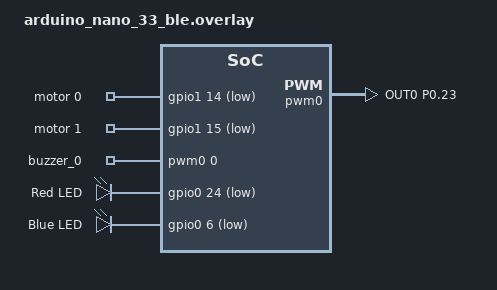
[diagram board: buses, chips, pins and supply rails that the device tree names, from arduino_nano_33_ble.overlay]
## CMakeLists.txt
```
# SPDX-License-Identifier: Apache-2.0

cmake_minimum_required(VERSION 3.20.0)
set(BOARD arduino_nano_33_ble)
find_package(Zephyr REQUIRED HINTS $ENV{ZEPHYR_BASE})
project(vision_lead)

# Add the include directory
# target_include_directories(app PRIVATE ${CMAKE_CURRENT_SOURCE_DIR}/ble)
zephyr_include_directories(ble)
zephyr_include_directories(gpio)

target_sources(app PRIVATE src/main.c ble/ble.c gpio/gpio.c)
```

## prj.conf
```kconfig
# Enable GPIO
CONFIG_GPIO=y

# Enable Bluetooth
CONFIG_BT=y
CONFIG_BT_PERIPHERAL=y

# Enable logging
CONFIG_LOG=y
CONFIG_CONSOLE=y
CONFIG_SERIAL=y
CONFIG_LOG_DEFAULT_LEVEL=1
CONFIG_LOG_BACKEND_UART=y
CONFIG_UART_CONSOLE=y

# Enable pwm
CONFIG_PWM=y

# Enable USB device stack
CONFIG_USB_DEVICE_STACK=y
CONFIG_USB_DEVICE_INITIALIZE_AT_BOOT=y
CONFIG_USB_DRIVER_LOG_LEVEL_ERR=y
CONFIG_USB_DEVICE_LOG_LEVEL_ERR=y

CONFIG_USB_DEVICE_PRODUCT="Vision lead mcu"
```

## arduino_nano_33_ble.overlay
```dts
/ {
    pins {
	compatible = "gpio-keys";
	motor_0: motor_0 {
	    gpios = <&gpio1 14  GPIO_ACTIVE_LOW>;
	    label = "motor 0";
	};
	motor_1: motor_1 {
	   gpios = <&gpio1 15 GPIO_ACTIVE_LOW>;
	   label = "motor 1";
	};
	    
    };

    pwm_pins {
	compatible = "pwm-leds";
	buzzer_0: buzzer_0 {
	    pwms = <&pwm0 0 PWM_USEC(2000) PWM_POLARITY_INVERTED>;
	};
    };
    

    leds {
	compatible = "gpio-leds";
	    red_led: red_led {
		    gpios = <&gpio0 24 GPIO_ACTIVE_LOW>;
		    label = "Red LED";
	    };
	    blue_led: blue_led {
		    gpios = <&gpio0 6 GPIO_ACTIVE_LOW>;
		    label = "Blue LED";
	    };
    };
};

&pinctrl {
    pwm0_default_custom: pwm0_default_custom {
	group1 {
	    psels = <NRF_PSEL(PWM_OUT0, 0, 23)>;
	    nordic,invert;
	};
    };
};

&pwm0 {
    status="okay";
    pinctrl-0 = <&pwm0_default_custom>;
};
```

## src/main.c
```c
 /*
 * VisionLead Embedded Application
 *
 * This file contains the main entry point for the VisionLead.
 *
 * Copyright 2024 University of Calgary and Garmin International Inc.
 *
 * Author: 
 *       Chachi Han <chachi.han@ucalgary.ca>	
 */

/*
 * SPDX-License-Identifier: Apache-2.0
*/

#include <ble.h>
#include <gpio.h>

#include <zephyr/device.h>
#include <zephyr/drivers/gpio.h>
#include <zephyr/logging/log.h>
#include <zephyr/kernel.h>
#include <zephyr/drivers/gpio.h>

LOG_MODULE_REGISTER(main, LOG_LEVEL_DBG);

/* The devicetree node identifier for the "led0" alias. */
#define LED0_NODE DT_ALIAS(led0)

/*
 * A build error on this line means your board is unsupported.
 * See the sample documentation for information on how to fix this.
 */
static const struct gpio_dt_spec led = GPIO_DT_SPEC_GET(LED0_NODE, gpios);

void main(void)
{

    LOG_INF("Begain GPIO and BLE initialization");

    gpio_init();
    ble_init();
    
    while(true){
	k_msleep(1000);
    } 

    return 0;
}
```
